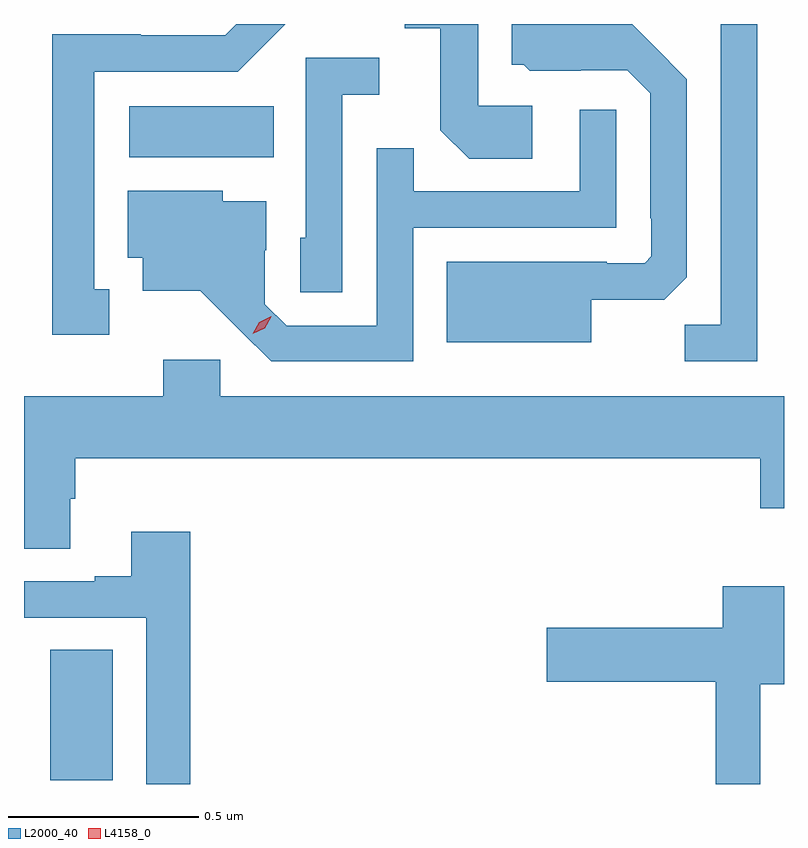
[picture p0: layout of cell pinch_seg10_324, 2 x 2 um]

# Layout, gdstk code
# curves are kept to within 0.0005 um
import gdstk
lib = gdstk.Library(unit=1e-6, precision=1e-09)
def R(c, l, rs):  # rectangles x0, y0, x1, y1
    for r in rs: c.add(gdstk.rectangle(r[:2], r[2:], *l))
def P(c, l, *ps):  # polygons
    for p in ps: c.add(gdstk.Polygon(p, *l))
L2000_40 = (2000, 40)
L4158_0 = (4158, 0)

pinch_seg10_324 = lib.new_cell('pinch_seg10_324')
R(pinch_seg10_324, L2000_40, [(406.454,1304.797,406.618,1305.14), (406.662,1306.436,407.042,1306.57)])
P(pinch_seg10_324, L2000_40, [(408.315,1306.787),(408.219,1306.787),(408.219,1305.995),(408.124,1305.995),(408.124,1305.9),(408.315,1305.9)],
  [(406.609,1306.089),(406.57,1306.089),(406.57,1306.662),(406.947,1306.662),(407.072,1306.787),(406.943,1306.787),(406.914,1306.758),(406.692,1306.758),(406.692,1306.76),(406.459,1306.76),(406.459,1305.969),(406.609,1305.969)],
  [(407.722,1306.572),(407.58,1306.572),(407.58,1306.787),(407.387,1306.787),(407.387,1306.776),(407.481,1306.776),(407.481,1306.508),(407.557,1306.432),(407.722,1306.432)],
  [(407.878,1306.061),(408.07,1306.061),(408.129,1306.12),(408.129,1306.642),(407.986,1306.787),(407.669,1306.787),(407.669,1306.68),(407.7,1306.68),(407.716,1306.664),(407.85,1306.664),(407.85,1306.665),(407.973,1306.665),(408.033,1306.605),(408.033,1306.276),(408.036,1306.276),(408.036,1306.176),(408.018,1306.158),(407.918,1306.158),(407.918,1306.162),(407.498,1306.162),(407.498,1305.95),(407.878,1305.95)],
  [(407.223,1306.601),(407.32,1306.601),(407.32,1306.698),(407.127,1306.698),(407.127,1306.224),(407.112,1306.224),(407.112,1306.081),(407.223,1306.081)],
  [(407.409,1306.251),(407.943,1306.251),(407.943,1306.561),(407.847,1306.561),(407.847,1306.347),(407.411,1306.347),(407.411,1306.46),(407.313,1306.46),(407.313,1305.993),(407.076,1305.993),(407.019,1306.05),(407.019,1306.192),(407.023,1306.192),(407.023,1306.321),(406.908,1306.321),(406.908,1306.348),(406.658,1306.348),(406.658,1306.172),(406.697,1306.172),(406.697,1306.085),(406.849,1306.085),(407.036,1305.9),(407.409,1305.9)],
  [(406.507,1305.538),(406.52,1305.538),(406.52,1305.644),(408.323,1305.644),(408.323,1305.513),(408.385,1305.513),(408.385,1305.808),(406.902,1305.808),(406.902,1305.904),(406.751,1305.904),(406.751,1305.808),(406.385,1305.808),(406.385,1305.406),(406.507,1305.406)],
  [(406.823,1305.451),(406.667,1305.451),(406.667,1305.334),(406.571,1305.334),(406.571,1305.321),(406.385,1305.321),(406.385,1305.225),(406.707,1305.225),(406.707,1304.787),(406.823,1304.787)],
  [(408.323,1305.05),(408.385,1305.05),(408.385,1305.307),(408.224,1305.307),(408.224,1305.198),(407.76,1305.198),(407.76,1305.056),(408.205,1305.056),(408.205,1304.787),(408.323,1304.787)])
P(pinch_seg10_324, L4158_0, [(406.987,1305.972),(406.987,1305.972),(407.004,1306.002),(407.035,1306.018),(407.035,1306.018),(407.035,1306.017),(407.018,1305.987),(406.987,1305.972)])

lib.write_gds('pinch_seg10_324.gds')
